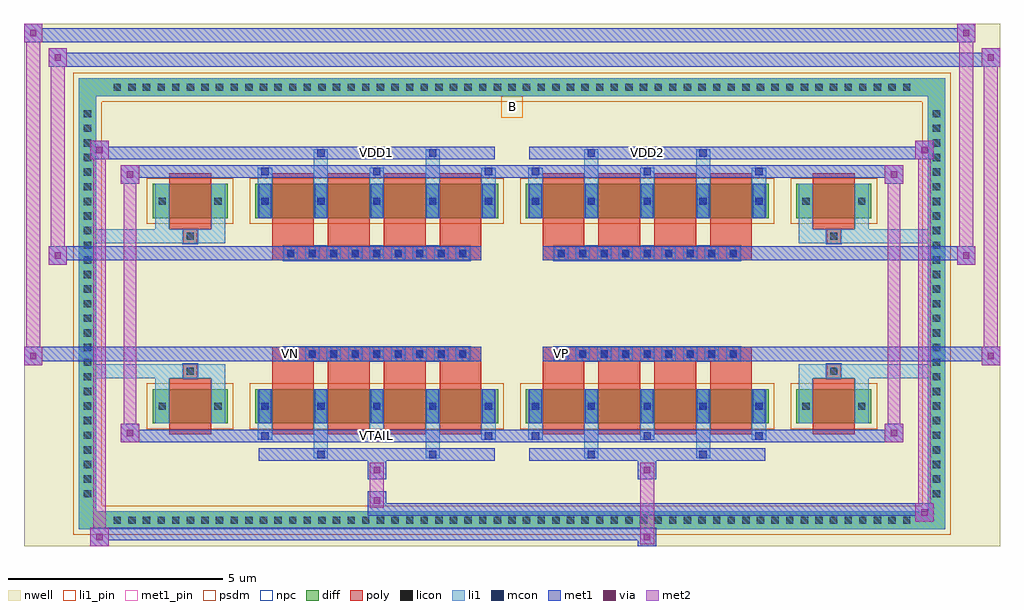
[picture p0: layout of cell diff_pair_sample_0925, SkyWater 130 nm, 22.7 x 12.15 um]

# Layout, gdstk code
import gdstk
lib = gdstk.Library(unit=1e-6, precision=5e-09)
def R(c, l, rs):  # rectangles x0, y0, x1, y1
    for r in rs: c.add(gdstk.rectangle(r[:2], r[2:], *l))
def A(c, l, x, y, w, h, nx, ny, dx, dy):  # array of equal rectangles
    R(c, l, [(x+i*dx, y+j*dy, x+i*dx+w, y+j*dy+h) for i in range(nx) for j in range(ny)])
def P(c, l, *ps):  # polygons
    for p in ps: c.add(gdstk.Polygon(p, *l))
nwell = (64, 20)
diff = (65, 20)
poly = (66, 20)
licon = (66, 44)
li1_pin = (67, 16)
li1 = (67, 20)
mcon = (67, 44)
met1_pin = (68, 16)
met1 = (68, 20)
via = (68, 44)
met2 = (69, 20)
psdm = (94, 20)
npc = (95, 20)

diff_pair_sample_0925 = lib.new_cell('diff_pair_sample_0925')
R(diff_pair_sample_0925, nwell, [(-11.35,-5.64,11.35,6.51), (-8.67,-3.83,-0.01,-0.805), (0.01,-3.83,8.67,-0.805), (-8.67,0.805,-0.01,3.83), (0.01,0.805,8.67,3.83)])
A(diff_pair_sample_0925, diff, -9.385, -5.24, 0.41, 0.41, 55, 2, 0.34, 10.07)
A(diff_pair_sample_0925, diff, -10.08, -4.625, 0.41, 0.41, 1, 27, 0, 0.34)
A(diff_pair_sample_0925, diff, 9.67, -4.625, 0.41, 0.41, 1, 27, 0, 0.34)
R(diff_pair_sample_0925, diff, [(-9.385,-5.24,9.385,-4.83), (-10.08,-4.625,-9.67,4.625), (9.67,-4.625,10.08,4.625), (-8.36,-2.785,-6.61,-1.985), (-5.97,-2.785,-0.32,-1.985), (0.32,-2.785,5.97,-1.985), (6.61,-2.785,8.36,-1.985), (-8.36,1.985,-6.61,2.785), (-5.97,1.985,-0.32,2.785), (0.32,1.985,5.97,2.785), (6.61,1.985,8.36,2.785), (-9.385,4.83,9.385,5.24)])
P(diff_pair_sample_0925, diff, [(10.08,5.24),(-10.08,5.24),(-10.08,-4.83),(-9.67,-4.83),(-9.67,4.83),(9.67,4.83),(9.67,-4.83),(-9.67,-4.83),(-10.08,-4.83),(-10.08,-5.24),(10.08,-5.24)])
A(diff_pair_sample_0925, poly, -5.58, -3.035, 0.97, 1.3, 4, 2, 1.3, 4.77)
A(diff_pair_sample_0925, poly, 0.71, -3.035, 0.97, 1.3, 4, 2, 1.3, 4.77)
A(diff_pair_sample_0925, poly, -5.58, -1.735, 0.97, 0.4, 4, 2, 1.3, 3.07)
A(diff_pair_sample_0925, poly, 0.71, -1.735, 0.97, 0.4, 4, 2, 1.3, 3.07)
A(diff_pair_sample_0925, poly, -5.31, -1.335, 0.33, 0.33, 9, 2, 0.5, 2.34)
A(diff_pair_sample_0925, poly, 0.98, -1.335, 0.33, 0.33, 9, 2, 0.5, 2.34)
R(diff_pair_sample_0925, poly, [(-7.97,-3.035,-7,-1.735), (7,-3.035,7.97,-1.735), (-7.65,-1.735,-7.32,-1.405), (-7.65,-1.735,-7.32,-1.405), (7.32,-1.735,7.65,-1.405), (7.32,-1.735,7.65,-1.405), (-5.58,-1.335,-0.71,-1.005), (0.71,-1.335,5.58,-1.005), (-5.58,1.005,-0.71,1.335), (0.71,1.005,5.58,1.335), (-7.65,1.405,-7.32,1.735), (-7.65,1.405,-7.32,1.735), (7.32,1.405,7.65,1.735), (7.32,1.405,7.65,1.735), (-7.97,1.735,-7,3.035), (7,1.735,7.97,3.035)])
A(diff_pair_sample_0925, licon, -9.265, -5.12, 0.17, 0.17, 55, 2, 0.34, 10.07)
A(diff_pair_sample_0925, licon, -9.96, -4.505, 0.17, 0.17, 1, 27, 0, 0.34)
A(diff_pair_sample_0925, licon, 9.79, -4.505, 0.17, 0.17, 1, 27, 0, 0.34)
A(diff_pair_sample_0925, licon, -5.83, -2.47, 0.17, 0.17, 5, 2, 1.3, 4.77)
A(diff_pair_sample_0925, licon, 0.46, -2.47, 0.17, 0.17, 5, 2, 1.3, 4.77)
A(diff_pair_sample_0925, licon, -5.23, -1.255, 0.17, 0.17, 9, 2, 0.5, 2.34)
A(diff_pair_sample_0925, licon, 1.06, -1.255, 0.17, 0.17, 9, 2, 0.5, 2.34)
R(diff_pair_sample_0925, licon, [(-8.22,-2.47,-8.05,-2.3), (-6.92,-2.47,-6.75,-2.3), (6.75,-2.47,6.92,-2.3), (8.05,-2.47,8.22,-2.3), (-7.57,-1.655,-7.4,-1.485), (7.4,-1.655,7.57,-1.485), (-7.57,1.485,-7.4,1.655), (7.4,1.485,7.57,1.655), (-8.22,2.3,-8.05,2.47), (-6.92,2.3,-6.75,2.47), (6.75,2.3,6.92,2.47), (8.05,2.3,8.22,2.47)])
R(diff_pair_sample_0925, li1_pin, [(-0.25,4.33,0.25,4.83)])
A(diff_pair_sample_0925, li1, -9.345, -5.2, 0.33, 0.33, 55, 2, 0.34, 10.07)
A(diff_pair_sample_0925, li1, -10.04, -4.585, 0.33, 0.33, 1, 27, 0, 0.34)
A(diff_pair_sample_0925, li1, 9.71, -4.585, 0.33, 0.33, 1, 27, 0, 0.34)
A(diff_pair_sample_0925, li1, -5.91, -3.16, 0.33, 0.375, 3, 2, 2.6, 5.945)
A(diff_pair_sample_0925, li1, -5.83, -3.16, 0.17, 0.17, 3, 2, 2.6, 6.15)
A(diff_pair_sample_0925, li1, 0.38, -3.16, 0.33, 0.375, 3, 2, 2.6, 5.945)
A(diff_pair_sample_0925, li1, 0.46, -3.16, 0.17, 0.17, 3, 2, 2.6, 6.15)
A(diff_pair_sample_0925, li1, -5.91, -2.785, 0.33, 0.8, 5, 2, 1.3, 4.77)
A(diff_pair_sample_0925, li1, 0.38, -2.785, 0.33, 0.8, 5, 2, 1.3, 4.77)
A(diff_pair_sample_0925, li1, -5.91, -2.55, 0.33, 0.33, 5, 2, 1.3, 4.77)
A(diff_pair_sample_0925, li1, 0.38, -2.55, 0.33, 0.33, 5, 2, 1.3, 4.77)
A(diff_pair_sample_0925, li1, -5.31, -1.335, 0.33, 0.33, 9, 2, 0.5, 2.34)
A(diff_pair_sample_0925, li1, 0.98, -1.335, 0.33, 0.33, 9, 2, 0.5, 2.34)
R(diff_pair_sample_0925, li1, [(-10.08,-5.24,-9.67,-4.83), (-10.08,-5.24,-9.67,-4.83), (-9.67,-5.24,9.67,-4.83), (9.67,-5.24,10.08,-4.83), (9.67,-5.24,10.08,-4.83), (-10.08,-4.83,-9.67,4.83), (9.67,-4.83,10.08,4.83), (-4.61,-3.59,-4.28,-2.785), (-4.53,-3.59,-4.36,-3.42), (-2.01,-3.59,-1.68,-2.785), (-1.93,-3.59,-1.76,-3.42), (1.68,-3.59,2.01,-2.785), (1.76,-3.59,1.93,-3.42), (4.28,-3.59,4.61,-2.785), (4.36,-3.59,4.53,-3.42), (-8.3,-2.785,-7.97,-1.985), (-7,-2.785,-6.67,-1.985), (6.67,-2.785,7,-1.985), (7.97,-2.785,8.3,-1.985), (-8.3,-2.55,-7.97,-2.22), (-7,-2.55,-6.67,-2.22), (6.67,-2.55,7,-2.22), (7.97,-2.55,8.3,-2.22), (-5.83,-2.47,-5.66,-2.3), (-5.83,-2.47,-5.66,-2.3), (-4.53,-2.47,-4.36,-2.3), (-4.53,-2.47,-4.36,-2.3), (-3.23,-2.47,-3.06,-2.3), (-3.23,-2.47,-3.06,-2.3), (-1.93,-2.47,-1.76,-2.3), (-1.93,-2.47,-1.76,-2.3), (-0.63,-2.47,-0.46,-2.3), (-0.63,-2.47,-0.46,-2.3), (0.46,-2.47,0.63,-2.3), (0.46,-2.47,0.63,-2.3), (1.76,-2.47,1.93,-2.3), (1.76,-2.47,1.93,-2.3), (3.06,-2.47,3.23,-2.3), (3.06,-2.47,3.23,-2.3), (4.36,-2.47,4.53,-2.3), (4.36,-2.47,4.53,-2.3), (5.66,-2.47,5.83,-2.3), (5.66,-2.47,5.83,-2.3), (-8.3,-1.985,-7.97,-1.405), (-7,-1.985,-6.67,-1.405), (6.67,-1.985,7,-1.405), (7.97,-1.985,8.3,-1.405), (-10.08,-1.735,-7.65,-1.405), (-8.3,-1.735,-7.65,-1.405), (-7.65,-1.735,-7.32,-1.405), (-7.32,-1.735,-6.67,-1.405), (6.67,-1.735,7.32,-1.405), (7.32,-1.735,7.65,-1.405), (7.32,-1.735,10.08,-1.405), (7.65,-1.735,8.3,-1.405), (-10.08,1.405,-7.65,1.735), (-8.3,1.405,-7.65,1.735), (-8.3,1.405,-7.97,1.985), (-7.65,1.405,-7.32,1.735), (-7.32,1.405,-6.67,1.735), (-7,1.405,-6.67,1.985), (6.67,1.405,7.32,1.735), (6.67,1.405,7,1.985), (7.32,1.405,7.65,1.735), (7.32,1.405,10.08,1.735), (7.65,1.405,8.3,1.735), (7.97,1.405,8.3,1.985), (-8.3,1.985,-7.97,2.785), (-7,1.985,-6.67,2.785), (6.67,1.985,7,2.785), (7.97,1.985,8.3,2.785), (-8.3,2.22,-7.97,2.55), (-7,2.22,-6.67,2.55), (6.67,2.22,7,2.55), (7.97,2.22,8.3,2.55), (-5.83,2.3,-5.66,2.47), (-5.83,2.3,-5.66,2.47), (-4.53,2.3,-4.36,2.47), (-4.53,2.3,-4.36,2.47), (-3.23,2.3,-3.06,2.47), (-3.23,2.3,-3.06,2.47), (-1.93,2.3,-1.76,2.47), (-1.93,2.3,-1.76,2.47), (-0.63,2.3,-0.46,2.47), (-0.63,2.3,-0.46,2.47), (0.46,2.3,0.63,2.47), (0.46,2.3,0.63,2.47), (1.76,2.3,1.93,2.47), (1.76,2.3,1.93,2.47), (3.06,2.3,3.23,2.47), (3.06,2.3,3.23,2.47), (4.36,2.3,4.53,2.47), (4.36,2.3,4.53,2.47), (5.66,2.3,5.83,2.47), (5.66,2.3,5.83,2.47), (-4.61,2.785,-4.28,3.59), (-2.01,2.785,-1.68,3.59), (1.68,2.785,2.01,3.59), (4.28,2.785,4.61,3.59), (-4.53,3.42,-4.36,3.59), (-1.93,3.42,-1.76,3.59), (1.76,3.42,1.93,3.59), (4.36,3.42,4.53,3.59), (-10.08,4.83,-9.67,5.24), (-10.08,4.83,-9.67,5.24), (-9.67,4.83,9.67,5.24), (9.67,4.83,10.08,5.24), (9.67,4.83,10.08,5.24)])
A(diff_pair_sample_0925, mcon, -5.83, -3.16, 0.17, 0.17, 3, 2, 2.6, 6.15)
A(diff_pair_sample_0925, mcon, 0.46, -3.16, 0.17, 0.17, 3, 2, 2.6, 6.15)
A(diff_pair_sample_0925, mcon, -5.83, -2.47, 0.17, 0.17, 5, 2, 1.3, 4.77)
A(diff_pair_sample_0925, mcon, 0.46, -2.47, 0.17, 0.17, 5, 2, 1.3, 4.77)
A(diff_pair_sample_0925, mcon, -5.23, -1.255, 0.17, 0.17, 9, 2, 0.5, 2.34)
A(diff_pair_sample_0925, mcon, 1.06, -1.255, 0.17, 0.17, 9, 2, 0.5, 2.34)
R(diff_pair_sample_0925, mcon, [(-4.53,-3.59,-4.36,-3.42), (-1.93,-3.59,-1.76,-3.42), (1.76,-3.59,1.93,-3.42), (4.36,-3.59,4.53,-3.42), (-4.53,3.42,-4.36,3.59), (-1.93,3.42,-1.76,3.59), (1.76,3.42,1.93,3.59), (4.36,3.42,4.53,3.59)])
R(diff_pair_sample_0925, met1_pin, [(-3.28,-3.2,-3.01,-2.93), (-5.28,-1.295,-5.01,-1.025), (1.01,-1.295,1.28,-1.025), (-3.28,3.38,-3.01,3.65), (3.01,3.38,3.28,3.65)])
A(diff_pair_sample_0925, met1, -5.89, -3.22, 0.29, 0.29, 3, 2, 2.6, 6.15)
A(diff_pair_sample_0925, met1, 0.4, -3.22, 0.29, 0.29, 3, 2, 2.6, 6.15)
A(diff_pair_sample_0925, met1, -5.89, -2.785, 0.29, 0.8, 5, 2, 1.3, 4.77)
A(diff_pair_sample_0925, met1, 0.4, -2.785, 0.29, 0.8, 5, 2, 1.3, 4.77)
A(diff_pair_sample_0925, met1, -5.89, -2.53, 0.29, 0.29, 5, 2, 1.3, 4.77)
A(diff_pair_sample_0925, met1, 0.4, -2.53, 0.29, 0.29, 5, 2, 1.3, 4.77)
A(diff_pair_sample_0925, met1, -5.29, -1.315, 0.29, 0.29, 9, 2, 0.5, 2.34)
A(diff_pair_sample_0925, met1, 1, -1.315, 0.29, 0.29, 9, 2, 0.5, 2.34)
R(diff_pair_sample_0925, met1, [(-9.81,-5.64,-9.38,-5.21), (2.93,-5.64,3.36,-5.21), (-9.81,-5.5,3.36,-5.21), (9.38,-5.07,9.81,-4.64), (-3.36,-4.93,9.81,-4.64), (-3.36,-4.79,-2.93,-4.36), (-3.36,-4.08,-2.93,-3.65), (2.93,-4.08,3.36,-3.65), (-5.89,-3.65,-0.4,-3.36), (-4.59,-3.65,-4.3,-3.36), (-1.99,-3.65,-1.7,-3.36), (0.4,-3.65,5.89,-3.36), (1.7,-3.65,1.99,-3.36), (4.3,-3.65,4.59,-3.36), (-9.1,-3.22,-8.67,-2.79), (-9.1,-3.22,-5.89,-2.93), (-5.89,-3.22,-0.4,-2.93), (-0.4,-3.22,0.4,-2.93), (0.4,-3.22,5.89,-2.93), (5.89,-3.22,9.1,-2.93), (8.67,-3.22,9.1,-2.79), (-11.35,-1.435,-10.92,-1.005), (10.92,-1.435,11.35,-1.005), (-11.35,-1.335,-0.71,-1.005), (-5.58,-1.335,-0.71,-1.005), (0.71,-1.335,5.58,-1.005), (0.71,-1.335,11.35,-1.005), (-10.78,0.905,-10.35,1.335), (10.35,0.905,10.78,1.335), (-10.78,1.005,-5.58,1.335), (-5.58,1.005,-0.71,1.335), (0.71,1.005,5.58,1.335), (5.58,1.005,10.78,1.335), (-9.1,2.79,-8.67,3.22), (8.67,2.79,9.1,3.22), (-9.1,2.93,-5.89,3.22), (-5.89,2.93,-0.4,3.22), (-0.4,2.93,0.4,3.22), (0.4,2.93,5.89,3.22), (5.89,2.93,9.1,3.22), (-9.81,3.36,-9.38,3.79), (-9.81,3.36,-5.89,3.65), (-5.89,3.36,-0.4,3.65), (-4.59,3.36,-4.3,3.65), (-1.99,3.36,-1.7,3.65), (0.4,3.36,5.89,3.65), (1.7,3.36,1.99,3.65), (4.3,3.36,4.59,3.65), (5.89,3.36,9.81,3.65), (9.38,3.36,9.81,3.79), (-10.78,5.51,-10.35,5.94), (-10.78,5.51,-8.67,5.84), (-8.67,5.51,8.67,5.84), (8.67,5.51,11.35,5.84), (10.92,5.51,11.35,5.94), (-11.35,6.08,-10.92,6.51), (-11.35,6.08,-8.67,6.41), (-8.67,6.08,8.67,6.41), (8.67,6.08,10.78,6.41), (10.35,6.08,10.78,6.51)])
R(diff_pair_sample_0925, via, [(-9.67,-5.5,-9.52,-5.35), (3.07,-5.5,3.22,-5.35), (9.52,-4.93,9.67,-4.78), (-3.22,-4.65,-3.07,-4.5), (-3.22,-3.94,-3.07,-3.79), (3.07,-3.94,3.22,-3.79), (-8.96,-3.08,-8.81,-2.93), (8.81,-3.08,8.96,-2.93), (-11.21,-1.295,-11.06,-1.145), (11.06,-1.295,11.21,-1.145), (-10.64,1.045,-10.49,1.195), (10.49,1.045,10.64,1.195), (-8.96,2.93,-8.81,3.08), (8.81,2.93,8.96,3.08), (-9.67,3.5,-9.52,3.65), (9.52,3.5,9.67,3.65), (-10.64,5.65,-10.49,5.8), (11.06,5.65,11.21,5.8), (-11.21,6.22,-11.06,6.37), (10.49,6.22,10.64,6.37)])
R(diff_pair_sample_0925, met2, [(-9.81,-5.64,-9.38,-5.21), (-9.74,-5.64,-9.45,3.79), (-9.45,-5.64,-9.38,-5.21), (-9.76,-5.59,-9.43,-5.26), (2.98,-5.59,3.31,-5.26), (2.98,-5.26,3.31,-4.03), (9.38,-5.07,9.81,-4.64), (9.45,-5.07,9.74,3.79), (9.74,-5.07,9.81,-4.64), (9.43,-5.02,9.76,-4.69), (-3.31,-4.74,-2.98,-4.41), (-3.31,-4.41,-2.98,-4.03), (-3.31,-4.03,-2.98,-3.7), (2.98,-4.03,3.31,-3.7), (-9.1,-3.22,-8.67,-2.79), (-9.03,-3.22,-8.74,3.22), (-8.74,-3.22,-8.67,-2.79), (8.67,-3.22,9.1,-2.79), (8.74,-3.22,9.03,3.22), (9.03,-3.22,9.1,-2.79), (-9.05,-3.17,-8.72,-2.84), (8.72,-3.17,9.05,-2.84), (-11.35,-1.435,-10.92,-1.005), (-11.3,-1.435,-10.97,6.51), (-10.97,-1.435,-10.92,-1.005), (10.92,-1.435,11.35,-1.005), (10.97,-1.435,11.3,5.94), (11.3,-1.435,11.35,-1.005), (-11.3,-1.385,-10.97,-1.055), (10.97,-1.385,11.3,-1.055), (-10.78,0.905,-10.35,1.335), (-10.73,0.905,-10.4,5.94), (-10.4,0.905,-10.35,1.335), (10.35,0.905,10.78,1.335), (10.4,0.905,10.73,6.51), (10.73,0.905,10.78,1.335), (-10.73,0.955,-10.4,1.285), (10.4,0.955,10.73,1.285), (-9.1,2.79,-8.67,3.22), (-8.74,2.79,-8.67,3.22), (8.67,2.79,9.1,3.22), (9.03,2.79,9.1,3.22), (-9.05,2.84,-8.72,3.17), (8.72,2.84,9.05,3.17), (-9.81,3.36,-9.38,3.79), (-9.45,3.36,-9.38,3.79), (9.38,3.36,9.81,3.79), (9.74,3.36,9.81,3.79), (-9.76,3.41,-9.43,3.74), (9.43,3.41,9.76,3.74), (-10.78,5.51,-10.35,5.94), (-10.4,5.51,-10.35,5.94), (10.92,5.51,11.35,5.94), (11.3,5.51,11.35,5.94), (-10.73,5.56,-10.4,5.89), (10.97,5.56,11.3,5.89), (-11.35,6.08,-10.92,6.51), (-10.97,6.08,-10.92,6.51), (10.35,6.08,10.78,6.51), (10.73,6.08,10.78,6.51), (-11.3,6.13,-10.97,6.46), (10.4,6.13,10.73,6.46)])
R(diff_pair_sample_0925, psdm, [(-8.49,-2.915,-6.48,-1.855), (-6.1,-2.915,-0.19,-1.855), (0.19,-2.915,6.1,-1.855), (6.48,-2.915,8.49,-1.855), (-8.49,1.855,-6.48,2.915), (-6.1,1.855,-0.19,2.915), (0.19,1.855,6.1,2.915), (6.48,1.855,8.49,2.915)])
P(diff_pair_sample_0925, psdm, [(10.21,5.37),(-10.21,5.37),(-10.21,-4.7),(-9.54,-4.7),(-9.54,4.7),(9.54,4.7),(9.54,-4.7),(-9.54,-4.7),(-10.21,-4.7),(-10.21,-5.37),(10.21,-5.37)])
A(diff_pair_sample_0925, npc, -5.33, -1.355, 0.37, 0.37, 9, 2, 0.5, 2.34)
A(diff_pair_sample_0925, npc, 0.96, -1.355, 0.37, 0.37, 9, 2, 0.5, 2.34)
R(diff_pair_sample_0925, npc, [(-7.67,-1.755,-7.3,-1.385), (7.3,-1.755,7.67,-1.385), (-5.33,-1.355,-4.46,-0.985), (-5.33,-1.355,-4.46,-0.985), (-4.83,-1.355,-3.96,-0.985), (-4.83,-1.355,-3.96,-0.985), (-4.33,-1.355,-3.46,-0.985), (-4.33,-1.355,-3.46,-0.985), (-3.83,-1.355,-2.96,-0.985), (-3.83,-1.355,-2.96,-0.985), (-3.33,-1.355,-2.46,-0.985), (-3.33,-1.355,-2.46,-0.985), (-2.83,-1.355,-1.96,-0.985), (-2.83,-1.355,-1.96,-0.985), (-2.33,-1.355,-1.46,-0.985), (-2.33,-1.355,-1.46,-0.985), (-1.83,-1.355,-0.96,-0.985), (-1.83,-1.355,-0.96,-0.985), (0.96,-1.355,1.83,-0.985), (0.96,-1.355,1.83,-0.985), (1.46,-1.355,2.33,-0.985), (1.46,-1.355,2.33,-0.985), (1.96,-1.355,2.83,-0.985), (1.96,-1.355,2.83,-0.985), (2.46,-1.355,3.33,-0.985), (2.46,-1.355,3.33,-0.985), (2.96,-1.355,3.83,-0.985), (2.96,-1.355,3.83,-0.985), (3.46,-1.355,4.33,-0.985), (3.46,-1.355,4.33,-0.985), (3.96,-1.355,4.83,-0.985), (3.96,-1.355,4.83,-0.985), (4.46,-1.355,5.33,-0.985), (4.46,-1.355,5.33,-0.985), (-5.33,0.985,-4.46,1.355), (-5.33,0.985,-4.46,1.355), (-4.83,0.985,-3.96,1.355), (-4.83,0.985,-3.96,1.355), (-4.33,0.985,-3.46,1.355), (-4.33,0.985,-3.46,1.355), (-3.83,0.985,-2.96,1.355), (-3.83,0.985,-2.96,1.355), (-3.33,0.985,-2.46,1.355), (-3.33,0.985,-2.46,1.355), (-2.83,0.985,-1.96,1.355), (-2.83,0.985,-1.96,1.355), (-2.33,0.985,-1.46,1.355), (-2.33,0.985,-1.46,1.355), (-1.83,0.985,-0.96,1.355), (-1.83,0.985,-0.96,1.355), (0.96,0.985,1.83,1.355), (0.96,0.985,1.83,1.355), (1.46,0.985,2.33,1.355), (1.46,0.985,2.33,1.355), (1.96,0.985,2.83,1.355), (1.96,0.985,2.83,1.355), (2.46,0.985,3.33,1.355), (2.46,0.985,3.33,1.355), (2.96,0.985,3.83,1.355), (2.96,0.985,3.83,1.355), (3.46,0.985,4.33,1.355), (3.46,0.985,4.33,1.355), (3.96,0.985,4.83,1.355), (3.96,0.985,4.83,1.355), (4.46,0.985,5.33,1.355), (4.46,0.985,5.33,1.355), (-7.67,1.385,-7.3,1.755), (7.3,1.385,7.67,1.755)])
diff_pair_sample_0925.add(gdstk.Label('VTAIL', (-3.145,-3.065), layer=68, texttype=5))
diff_pair_sample_0925.add(gdstk.Label('VN', (-5.145,-1.16), layer=68, texttype=5))
diff_pair_sample_0925.add(gdstk.Label('VP', (1.145,-1.16), layer=68, texttype=5))
diff_pair_sample_0925.add(gdstk.Label('B', (0,4.58), layer=67, texttype=5))
diff_pair_sample_0925.add(gdstk.Label('VDD2', (3.145,3.515), layer=68, texttype=5))
diff_pair_sample_0925.add(gdstk.Label('VDD1', (-3.145,3.515), layer=68, texttype=5))

lib.write_gds('diff_pair_sample_0925.gds')
